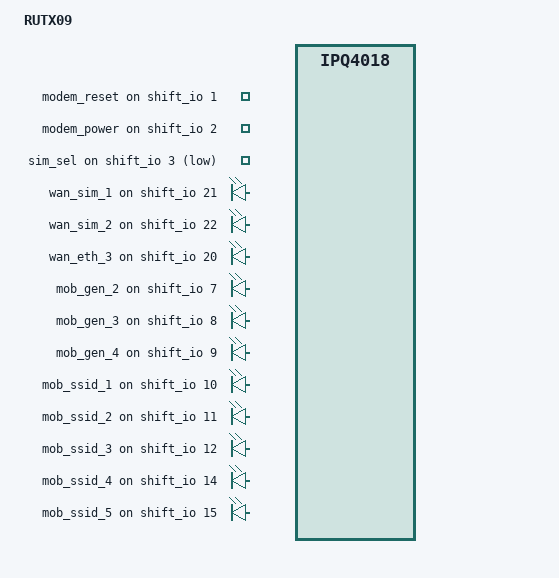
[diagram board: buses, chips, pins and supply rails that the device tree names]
#include "qcom-ipq4018-rutx-shiftreg.dtsi"

/ {
	model = "RUTX09";

	soc {
		gpio-export {
			compatible = "gpio-export";
			#size-cells = <0>;

			gpio_modem_reset {
				gpio-export,name = "modem_reset";
				gpio-export,output = <0>;
				gpios = <&shift_io 1 GPIO_ACTIVE_HIGH>;
			};

			gpio_modem_power {
				gpio-export,name = "modem_power";
				gpio-export,output = <0>;
				gpios = <&shift_io 2 GPIO_ACTIVE_HIGH>;
			};

			gpio_sim_select {
				gpio-export,name = "sim_sel";
				gpio-export,output = <1>;
				gpios = <&shift_io 3 GPIO_ACTIVE_LOW>;
			};
		};

		leds {
			compatible = "gpio-leds";

			led_wan_sim1 {
				label = "wan_sim_1";
				gpios = <&shift_io 21 GPIO_ACTIVE_HIGH>;
			};

			led_wan_sim2 {
				label = "wan_sim_2";
				gpios = <&shift_io 22 GPIO_ACTIVE_HIGH>;
			};

			led_wan_eth {
				label = "wan_eth_3";
				gpios = <&shift_io 20 GPIO_ACTIVE_HIGH>;
			};

			led_gen_2 {
				label = "mob_gen_2";
				gpios = <&shift_io 7 GPIO_ACTIVE_HIGH>;
			};

			led_gen_3 {
				label = "mob_gen_3";
				gpios = <&shift_io 8 GPIO_ACTIVE_HIGH>;
			};

			led_gen_4 {
				label = "mob_gen_4";
				gpios = <&shift_io 9 GPIO_ACTIVE_HIGH>;
			};

			led_ssid_1 {
				label = "mob_ssid_1";
				gpios = <&shift_io 10 GPIO_ACTIVE_HIGH>;
				linux,default-trigger = "timer";
			};

			led_ssid_2 {
				label = "mob_ssid_2";
				gpios = <&shift_io 11 GPIO_ACTIVE_HIGH>;
				linux,default-trigger = "timer";
			};

			led_ssid_3 {
				label = "mob_ssid_3";
				gpios = <&shift_io 12 GPIO_ACTIVE_HIGH>;
				linux,default-trigger = "timer";
			};

			led_ssid_4 {
				label = "mob_ssid_4";
				gpios = <&shift_io 14 GPIO_ACTIVE_HIGH>;
				linux,default-trigger = "timer";
			};

			led_ssid_5 {
				label = "mob_ssid_5";
				gpios = <&shift_io 15 GPIO_ACTIVE_HIGH>;
				linux,default-trigger = "timer";
			};
		};
	};

	tlt_gpios { // Modify according to wiki page "DTS syntax with Libgpiod changes"
		gpiochip_info {
			hw_9 {
				hwver = <9>;
				gpiochip_count = <2>;

				gpiochip_0 = <100>; // Built-in
				gpiochip_1 = <24>;  // Shift Register
			};
		};

		ioman {
			GPIO_0 {
				compatible_versions = <9 99>;
				line_name = "GPIO_IN_1";
				active_low;
			};
			GPIO_100 {
				compatible_versions = <9 99>;
				line_name = "GPIO_OUT_1";
			};
		};

		ledman {
			GPIO_121 {
				compatible_versions = <9 99>;
				line_name = "LED_SIM_1";
			};
			GPIO_122 {
				compatible_versions = <9 99>;
				line_name = "LED_SIM_2";
			};
			GPIO_120 {
				compatible_versions = <9 99>;
				line_name = "LED_WAN_ETH";
			};
			GPIO_107 {
				compatible_versions = <9 99>;
				line_name = "LED_TECH_GEN_2";
			};
			GPIO_108 {
				compatible_versions = <9 99>;
				line_name = "LED_TECH_GEN_3";
			};
			GPIO_109 {
				compatible_versions = <9 99>;
				line_name = "LED_TECH_GEN_4";
			};
			GPIO_110 {
				compatible_versions = <9 99>;
				line_name = "LED_SSID_1";
			};
			GPIO_111 {
				compatible_versions = <9 99>;
				line_name = "LED_SSID_2";
			};
			GPIO_112 {
				compatible_versions = <9 99>;
				line_name = "LED_SSID_3";
			};
			GPIO_114 {
				compatible_versions = <9 99>;
				line_name = "LED_SSID_4";
			};
			GPIO_115 {
				compatible_versions = <9 99>;
				line_name = "LED_SSID_5";
			};
		};

		misc {
			GPIO_101 {
				compatible_versions = <9 99>;
				line_name = "GPIO_MODEM_RESET_1";
			};
			GPIO_102 {
				compatible_versions = <9 99>;
				line_name = "GPIO_MODEM_POWER_1";
			};
			GPIO_103 {
				compatible_versions = <9 99>;
				line_name = "GPIO_SIM_SELECT";
				active_low;
			};
		};
	};

};
